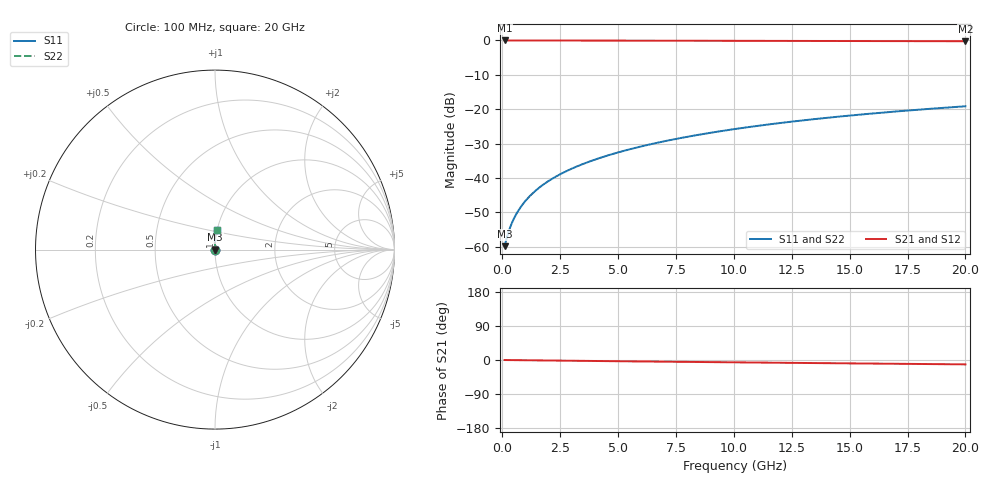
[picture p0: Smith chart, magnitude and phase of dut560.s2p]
! Touchstone file exported from HFSS 2024.1.0
!  File:  C:/UserFiles/LocalFiles/RDL_TSV_Batchsim/temp_RDL_bottom_560_1779689747.aedt
!  Generated:  02:18:11 PM May 25, 2026
!  Design:  RDL_bottom
!  Project:  temp_RDL_bottom_560_1779689747
!  Setup:  Setup1
!  Solution:  Sweep
! Variables:
!  dtsv = 10.80580581um
!  hbump = 3um
!  htsv = 59.73um
!  ldown = 161.06um
!  lrdl = 100um
!  p = 40
!  p1 = 40.89um
!  rhole = 1um
!  t = 450um
!  tdown = 3.68um
!  trdl = 3.915915916um
!  wdown = 23.86um
!  wrdl = 20um
# GHz S MA R 50.000000
! Terminal data exported
! Port[1] = RDL1_T1
! Port[2] = RDL1_T2
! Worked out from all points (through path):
!   200 points, 100 MHz to 20 GHz, reference 50 ohm
!   highest |S21| = -0.01 dB at 100 MHz (marker M1); lowest = -0.2 dB at 20 GHz (marker M2)
!   group delay of S21, straight-line fit = 1.59 ps
!   lowest |S11| = -59.8 dB at 100 MHz (marker M3), VSWR 1.00, Z = 50.1 + j0.0522 ohm
!   |S11| at or under -10 dB: start of sweep to end of sweep
!   |S22| runs from -59.8 to -19.1 dB; largest |S21 - S12| = 3.3e-15
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0.1  0.00102 30.8  0.9991 -0.1  0.9991 -0.1  0.00102 30.8
! Gamma 0 0 0 0
! Port Impedance 50 0 50 0
0.2  0.001371 47.5  0.9991 -0.1  0.9991 -0.1  0.001371 47.5
0.3  0.001763 56.5  0.999 -0.2  0.999 -0.2  0.001763 56.5
0.4  0.002161 62.2  0.9989 -0.3  0.9989 -0.3  0.002161 62.2
0.5  0.002563 66.4  0.9989 -0.3  0.9989 -0.3  0.002563 66.4
0.6  0.002969 69.5  0.9988 -0.4  0.9988 -0.4  0.002969 69.5
0.8  0.003797 74.1  0.9988 -0.5  0.9988 -0.5  0.003797 74.1
1  0.004643 77.3  0.9987 -0.7  0.9987 -0.7  0.004643 77.3
1.2  0.005503 79.7  0.9986 -0.8  0.9986 -0.8  0.005503 79.7
1.4  0.006375 81.4  0.9984 -0.9  0.9984 -0.9  0.006375 81.4
1.7  0.007701 83.5  0.9982 -1.1  0.9982 -1.1  0.007701 83.5
2.2  0.009953 85.8  0.9978 -1.5  0.9978 -1.5  0.009953 85.8
2.8  0.01272 87.8  0.9972 -1.9  0.9972 -1.9  0.01272 87.8
3.5  0.01605 89.3  0.9964 -2.3  0.9964 -2.3  0.01605 89.3
4.2  0.01948 90.4  0.9955 -2.8  0.9955 -2.8  0.01948 90.4
5  0.02353 91.2  0.9943 -3.3  0.9943 -3.3  0.02353 91.2
6.8  0.0331 91.9  0.9915 -4.4  0.9915 -4.4  0.0331 92.0
8.4  0.04203 91.8  0.9889 -5.3  0.9889 -5.3  0.04203 91.9
10.1  0.05183 91.3  0.9863 -6.2  0.9863 -6.2  0.05183 91.3
13.4  0.07129 89.4  0.9816 -8.0  0.9816 -8.0  0.07129 89.4
16.7  0.09088 87.1  0.9774 -9.8  0.9774 -9.8  0.09089 87.1
20  0.1103 84.7  0.9735 -11.6  0.9735 -11.6  0.1103 84.7
